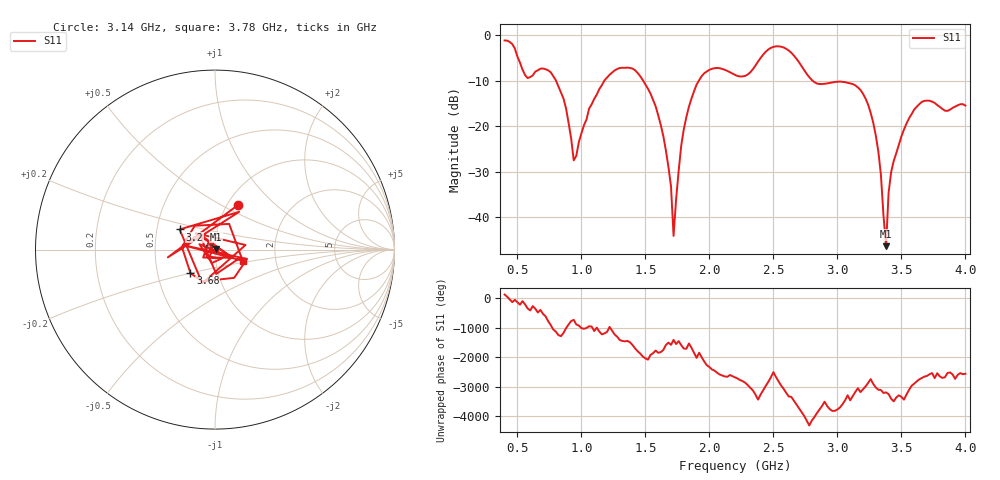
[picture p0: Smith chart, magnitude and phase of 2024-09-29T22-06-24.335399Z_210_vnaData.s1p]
!Created with skrf (http://scikit-rf.org).
# Hz S RI R 50.0
!freq ReS11 ImS11
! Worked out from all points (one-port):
!   181 points, 400 MHz to 4 GHz, reference 50 ohm
!   lowest |S11| = -46.3 dB at 3.38 GHz (marker M1), VSWR 1.01, Z = 50.3 + j0.36 ohm
!   |S11| at or under -10 dB: 801.2 MHz to 1.179 GHz (378.2 MHz wide, 38.2 % of centre); 1.482 GHz to 1.918 GHz (435.8 MHz wide, 25.6 % of centre); 2.806 GHz to end of sweep
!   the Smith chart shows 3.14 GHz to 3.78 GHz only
!   S11 on the Smith chart (normalised r, x): 3.14 GHz: 1.12, +0.61; 3.2 GHz: 0.66, +0.16; 3.68 GHz: 0.74, -0.20; 3.78 GHz: 1.36, -0.18
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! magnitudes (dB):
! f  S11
! 400 MHz  -1.2
! 580 MHz  -9.4
! 860 MHz  -13.9
! 940 MHz  -27.5
! 1.06 GHz  -16.1
! 1.3 GHz  -7.2
! 1.58 GHz  -15.6
! 1.68 GHz  -29.0
! 1.7 GHz  -33.2
! 1.72 GHz  -44.1
! 1.76 GHz  -29.8
! 1.82 GHz  -18.0
! 1.92 GHz  -9.9
! 2.2 GHz  -8.7
! 2.5 GHz  -2.6
! 2.66 GHz  -4.5
! 2.84 GHz  -10.6
! 3.1 GHz  -10.6
! 3.14 GHz  -11.0
! 3.2 GHz  -12.9
! 3.32 GHz  -25.6
! 3.38 GHz  -46.3
! 3.4 GHz  -34.6
! 3.42 GHz  -30.1
! 3.56 GHz  -18.3
! 3.68 GHz  -14.4
! 3.78 GHz  -15.4
! 4 GHz  -15.5
